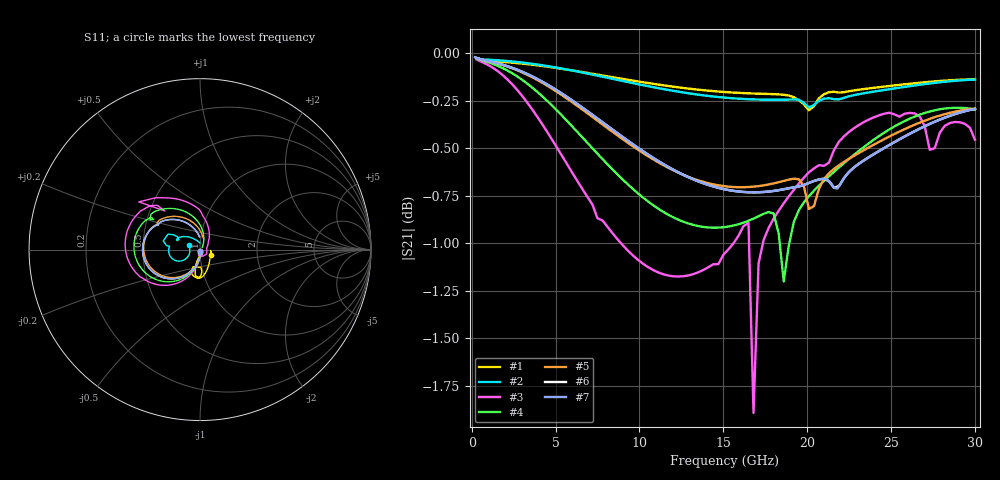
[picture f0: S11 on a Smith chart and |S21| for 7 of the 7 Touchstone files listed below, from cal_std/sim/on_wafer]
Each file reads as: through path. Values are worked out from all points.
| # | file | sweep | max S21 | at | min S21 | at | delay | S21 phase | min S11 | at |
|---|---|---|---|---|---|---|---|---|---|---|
| 1 | fixture_DUTPort_TestPort.s2p | 300 MHz to 30 GHz | -0.03 dB | 300 MHz | -0.3 dB | 20.1 GHz | 7.79 ps | -43 deg at 15.3 GHz | -28.6 dB | 30 GHz |
| 2 | fixture_TestPort_DUTPort.s2p | 300 MHz to 30 GHz | -0.03 dB | 300 MHz | -0.3 dB | 20.1 GHz | 7.88 ps | -45 deg at 15.3 GHz | -28.3 dB | 30 GHz |
| 3 | line1.s2p | 300 MHz to 30 GHz | -0.03 dB | 300 MHz | -1.9 dB | 16.8 GHz | 23.2 ps | -129 deg at 15.3 GHz | -34.5 dB | 300 MHz |
| 4 | line3.s2p | 300 MHz to 30 GHz | -0.03 dB | 300 MHz | -1.2 dB | 18.6 GHz | 19 ps | -107 deg at 15.3 GHz | -37.4 dB | 300 MHz |
| 5 | line4.s2p | 300 MHz to 30 GHz | -0.03 dB | 300 MHz | -0.8 dB | 20.1 GHz | 17.1 ps | -96 deg at 15.3 GHz | -40.0 dB | 300 MHz |
| 6 | thru2.s2p | 300 MHz to 30 GHz | -0.03 dB | 300 MHz | -0.7 dB | 16.8 GHz | 15.6 ps | -88 deg at 15.3 GHz | -40.2 dB | 300 MHz |
| 7 | thru.s2p | 200 MHz to 30 GHz | -0.02 dB | 200 MHz | -0.7 dB | 16.8 GHz | 15.6 ps | -88 deg at 15.2 GHz | -44.0 dB | 200 MHz |
